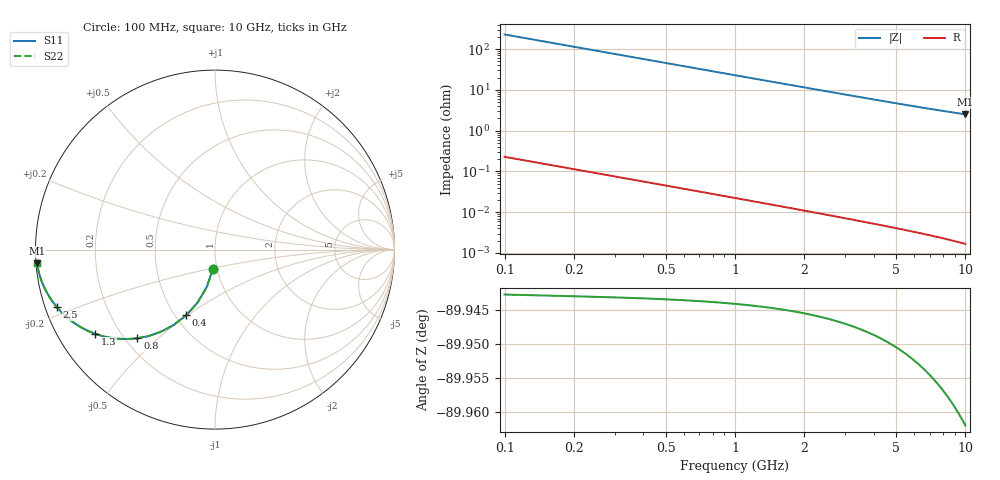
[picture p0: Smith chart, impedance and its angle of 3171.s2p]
# Hz S RI R 50.00
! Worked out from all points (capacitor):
!   100 points, 100 MHz to 10 GHz, reference 50 ohm
!   read as one part in shunt: C = 6.95 pF near 100 MHz
!   lowest |Z| = 2.52 ohm at 10 GHz (marker M1)
!   S11 on the Smith chart (normalised r, x): 100 MHz: 0.95, -0.21; 400 MHz: 0.57, -0.49; 800 MHz: 0.25, -0.43; 1.3 GHz: 0.11, -0.31; 2.5 GHz: 0.03, -0.18; 10 GHz: 0.00, -0.04
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1e8  -0.0118 -0.1077  0.9881 -0.1079  0.9881 -0.1079  -0.0118 -0.1077
2e8  -0.0456 -0.208  0.9543 -0.2084  0.9543 -0.2084  -0.0456 -0.208
3e8  -0.097 -0.2951  0.903 -0.2958  0.903 -0.2958  -0.097 -0.2951
4e8  -0.1602 -0.3659  0.8398 -0.3667  0.8398 -0.3667  -0.1602 -0.3659
5e8  -0.2295 -0.4195  0.7705 -0.4205  0.7705 -0.4205  -0.2295 -0.4195
6e8  -0.3 -0.4571  0.6999 -0.4584  0.6999 -0.4584  -0.3 -0.4571
7e8  -0.3683 -0.4811  0.6316 -0.4826  0.6316 -0.4826  -0.3683 -0.4811
8e8  -0.4322 -0.494  0.5677 -0.4957  0.5677 -0.4957  -0.4322 -0.494
1e9  -0.5431 -0.4966  0.4569 -0.4987  0.4569 -0.4987  -0.5431 -0.4966
1.1e9  -0.5898 -0.4902  0.4102 -0.4925  0.4102 -0.4925  -0.5898 -0.4902
1.3e9  -0.6674 -0.4692  0.3325 -0.472  0.3325 -0.472  -0.6674 -0.4692
1.5e9  -0.7275 -0.4431  0.2724 -0.4463  0.2724 -0.4463  -0.7275 -0.4431
1.8e9  -0.7935 -0.4024  0.2065 -0.4062  0.2065 -0.4062  -0.7935 -0.4024
2.1e9  -0.8394 -0.3644  0.1606 -0.3689  0.1606 -0.3689  -0.8394 -0.3644
2.5e9  -0.8809 -0.3206  0.119 -0.326  0.119 -0.326  -0.8809 -0.3206
2.9e9  -0.9087 -0.2843  0.0912 -0.2906  0.0912 -0.2906  -0.9087 -0.2843
3.4e9  -0.9319 -0.2477  0.0681 -0.2551  0.0681 -0.2551  -0.9319 -0.2477
4.2e9  -0.9543 -0.2036  0.0456 -0.2128  0.0456 -0.2128  -0.9543 -0.2036
5.1e9  -0.9686 -0.1681  0.0313 -0.1794  0.0313 -0.1794  -0.9686 -0.1681
6.7e9  -0.9816 -0.1259  0.0182 -0.1409  0.0182 -0.1409  -0.9816 -0.1259
8.4e9  -0.9883 -0.0967  0.0114 -0.1158  0.0114 -0.1158  -0.9883 -0.0967
1e10  -0.9918 -0.077  0.00784 -0.1002  0.00784 -0.1002  -0.9918 -0.077
